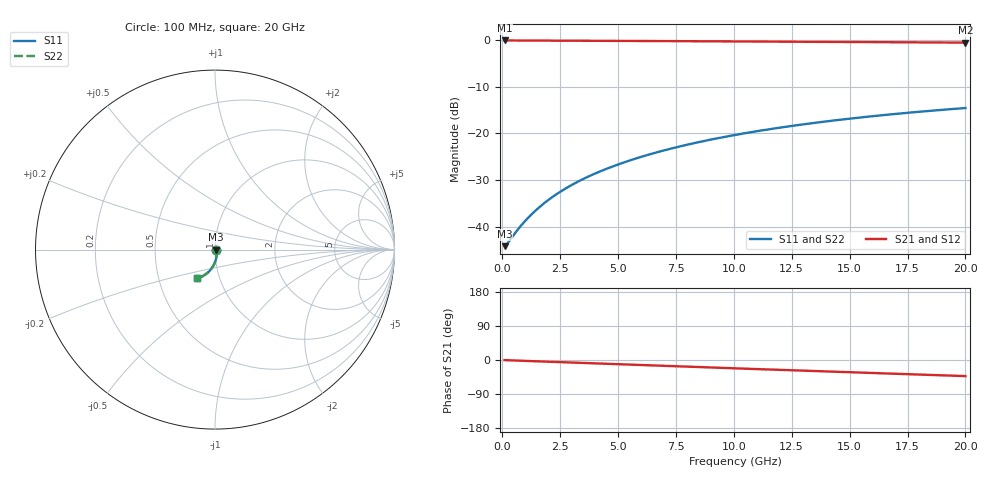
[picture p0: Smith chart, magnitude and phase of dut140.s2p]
! Touchstone file exported from HFSS 2026.1.0
!  File:  C:/ffzhzh/LocalFiles/Ansys_Project_Files/temp_train_BSMRDL_140_1782986381_41620.aedt
!  Generated:  06:01:02 PM Jul  2, 2026
!  Design:  BSMRDL
!  Project:  temp_train_BSMRDL_140_1782986381_41620
! Variables:
!  h_bsmrdl = 4.17um
!  h_ox = 20um
!  h_rdl = 5um
!  h_sub = 80um
!  h_tmrdl = 5um
!  h_tsv = 80um
!  h_via = 3um
!  l_bsmrdl = 736.79um
!  l_sub = 1136.79um
!  l_tmrdl = 200um
!  m_sub = 200um
!  pitch = 11.97um
!  r_tsv = 6um
!  s_tmrdl = 10um
!  w_bsmrdl = 10.22um
!  w_sub = 500um
!  w_tmrdl = 12um
!  x_tsv_center1 = 206um
!  x_tsv_center2 = 953.01um
!  x_tsv_center3 = 1165.01um
!  x_tsv_center4 = 1912.02um
!  x_tsv_center5 = 2124.02um
!  x_tsv_center6 = 2871.03um
# GHz S MA R 50.000000
! Terminal data exported
! Port[1] = BSM_RDL1_1_T1
! Port[2] = BSM_RDL1_1_T2
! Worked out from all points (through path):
!   200 points, 100 MHz to 20 GHz, reference 50 ohm
!   highest |S21| = -0.05 dB at 100 MHz (marker M1); lowest = -0.5 dB at 20 GHz (marker M2)
!   group delay of S21, straight-line fit = 5.87 ps
!   lowest |S11| = -44.2 dB at 100 MHz (marker M3), VSWR 1.01, Z = 50.6 - j0.016 ohm
!   |S11| at or under -10 dB: start of sweep to end of sweep
!   |S22| runs from -44.2 to -14.5 dB; largest |S21 - S12| = 2.9e-15
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0.1  0.006193 -1.5  0.9938 -0.3  0.9938 -0.3  0.006193 -1.5
! Gamma 0 0 0 0
! Port Impedance 50 0 50 0
0.2  0.006536 -3.7  0.9935 -0.5  0.9935 -0.5  0.006536 -3.7
0.6  0.008872 -20.5  0.9916 -1.5  0.9916 -1.5  0.008871 -20.5
0.9  0.01092 -33.2  0.9906 -2.1  0.9906 -2.1  0.01092 -33.2
1.2  0.0131 -43.2  0.99 -2.8  0.99 -2.8  0.0131 -43.2
1.6  0.0162 -52.9  0.9893 -3.7  0.9893 -3.7  0.0162 -52.9
2  0.01946 -59.8  0.9887 -4.6  0.9887 -4.6  0.01946 -59.8
2.5  0.0237 -66.0  0.988 -5.7  0.988 -5.7  0.02369 -66.0
3  0.02808 -70.6  0.9872 -6.8  0.9872 -6.8  0.02807 -70.6
3.5  0.03256 -74.1  0.9864 -7.9  0.9864 -7.9  0.03255 -74.1
4.2  0.039 -78.1  0.985 -9.4  0.985 -9.4  0.03899 -78.1
5  0.04654 -81.7  0.9834 -11.2  0.9834 -11.2  0.04652 -81.7
5.9  0.05522 -85.1  0.9813 -13.1  0.9813 -13.1  0.05519 -85.2
6.8  0.06404 -88.1  0.9792 -15.1  0.9792 -15.1  0.06401 -88.2
7.6  0.07196 -90.6  0.9771 -16.8  0.9771 -16.8  0.07193 -90.7
8.4  0.07994 -92.9  0.9751 -18.5  0.9751 -18.5  0.07989 -93.0
10.1  0.0969 -97.6  0.9705 -22.1  0.9705 -22.1  0.09684 -97.7
11.7  0.1127 -101.8  0.9662 -25.4  0.9662 -25.4  0.1126 -101.9
13.4  0.1292 -106.1  0.9614 -29.0  0.9614 -29.0  0.1291 -106.2
15  0.1442 -110.0  0.9568 -32.3  0.9568 -32.3  0.1441 -110.1
16.7  0.1596 -114.0  0.9519 -35.8  0.9519 -35.8  0.1595 -114.1
20  0.1875 -121.5  0.9422 -42.5  0.9422 -42.5  0.1873 -121.6
